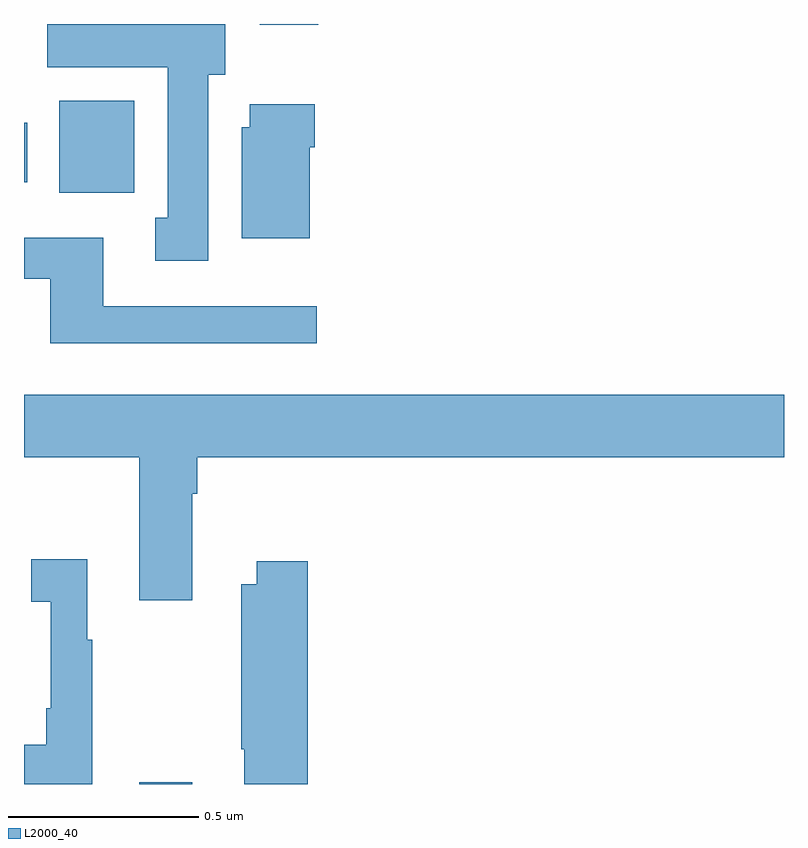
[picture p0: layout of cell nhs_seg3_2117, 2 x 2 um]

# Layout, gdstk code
import gdstk
lib = gdstk.Library(unit=1e-6, precision=1e-09)
def R(c, l, rs):  # rectangles x0, y0, x1, y1
    for r in rs: c.add(gdstk.rectangle(r[:2], r[2:], *l))
def P(c, l, *ps):  # polygons
    for p in ps: c.add(gdstk.Polygon(p, *l))
L2000_40 = (2000, 40)

nhs_seg3_2117 = lib.new_cell('nhs_seg3_2117')
R(nhs_seg3_2117, L2000_40, [(137.303,689.4,137.443,689.404), (137.093,690.956,137.29,691.198), (137,690.984,137.008,691.14), (137.621,691.398,137.774,691.4)])
P(nhs_seg3_2117, L2000_40, [(137.485,691.266),(137.53,691.266),(137.53,691.4),(137.061,691.4),(137.061,691.286),(137.378,691.286),(137.378,690.89),(137.345,690.89),(137.345,690.777),(137.485,690.777)],
  [(137.752,691.076),(137.765,691.076),(137.765,691.189),(137.594,691.189),(137.594,691.128),(137.573,691.128),(137.573,690.836),(137.752,690.836)],
  [(137.77,690.657),(137.209,690.657),(137.209,690.838),(137,690.838),(137,690.729),(137.069,690.729),(137.069,690.56),(137.77,690.56)],
  [(137.443,690.164),(137.456,690.164),(137.456,690.26),(139,690.26),(139,690.424),(137,690.424),(137,690.26),(137.303,690.26),(137.303,689.883),(137.443,689.883)],
  [(137.179,689.779),(137.167,689.779),(137.167,689.992),(137.019,689.992),(137.019,689.879),(137.07,689.879),(137.07,689.599),(137.058,689.599),(137.058,689.503),(137,689.503),(137,689.4),(137.179,689.4)],
  [(137.747,689.986),(137.612,689.986),(137.612,689.926),(137.572,689.926),(137.572,689.491),(137.579,689.491),(137.579,689.4),(137.747,689.4)])

lib.write_gds('nhs_seg3_2117.gds')
